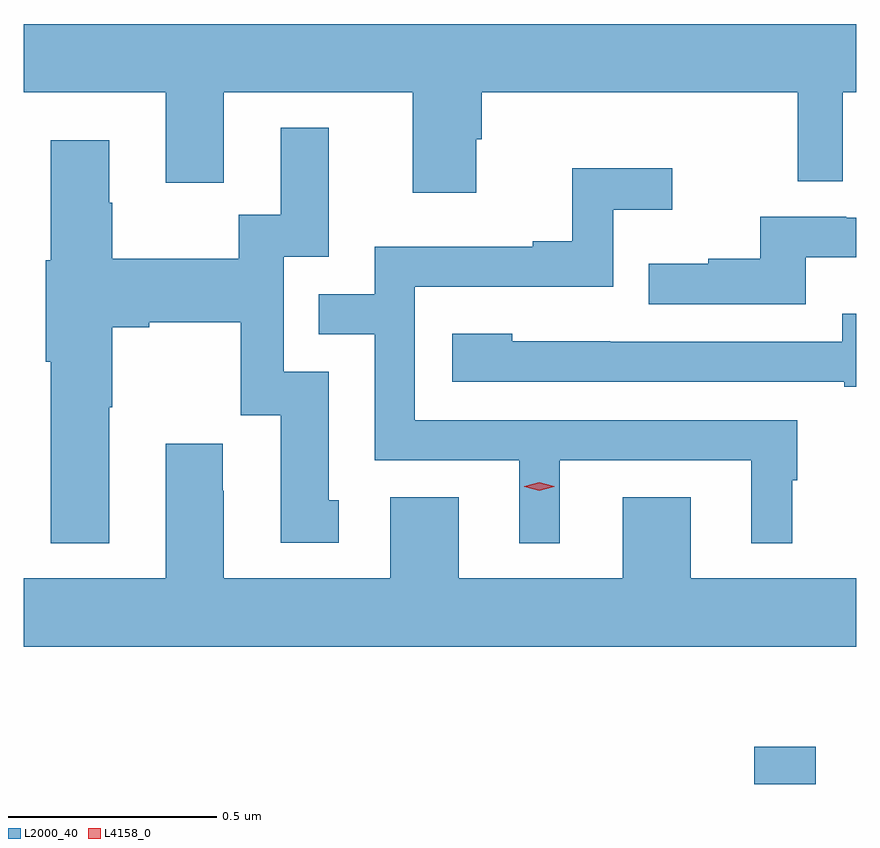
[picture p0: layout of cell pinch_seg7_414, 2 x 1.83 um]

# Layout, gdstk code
import gdstk
lib = gdstk.Library(unit=1e-6, precision=1e-09)
def R(c, l, rs):  # rectangles x0, y0, x1, y1
    for r in rs: c.add(gdstk.rectangle(r[:2], r[2:], *l))
def P(c, l, *ps):  # polygons
    for p in ps: c.add(gdstk.Polygon(p, *l))
L2000_40 = (2000, 40)
L4158_0 = (4158, 0)

pinch_seg7_414 = lib.new_cell('pinch_seg7_414')
R(pinch_seg7_414, L2000_40, [(575.823,1017.602,575.971,1017.691)])
P(pinch_seg7_414, L2000_40, [(575.155,1019.151),(575.168,1019.151),(575.168,1019.264),(575.928,1019.264),(575.928,1019.05),(576.036,1019.05),(576.036,1019.264),(576.068,1019.264),(576.068,1019.428),(574.068,1019.428),(574.068,1019.264),(574.409,1019.264),(574.409,1019.046),(574.549,1019.046),(574.549,1019.264),(575.003,1019.264),(575.003,1019.022),(575.155,1019.022)],
  [(574.273,1018.507),(574.281,1018.507),(574.281,1018.7),(574.369,1018.7),(574.369,1018.712),(574.589,1018.712),(574.589,1018.488),(574.685,1018.488),(574.685,1018.182),(574.825,1018.182),(574.825,1018.284),(574.801,1018.284),(574.801,1018.593),(574.692,1018.593),(574.692,1018.869),(574.801,1018.869),(574.801,1019.179),(574.685,1019.179),(574.685,1018.97),(574.584,1018.97),(574.584,1018.864),(574.281,1018.864),(574.281,1018.998),(574.273,1018.998),(574.273,1019.149),(574.133,1019.149),(574.133,1018.86),(574.121,1018.86),(574.121,1018.616),(574.133,1018.616),(574.133,1018.181),(574.273,1018.181)],
  [(575.356,1018.38),(575.816,1018.38),(575.816,1018.181),(575.914,1018.181),(575.914,1018.332),(575.926,1018.332),(575.926,1018.476),(575.007,1018.476),(575.007,1018.797),(575.484,1018.797),(575.484,1018.982),(575.626,1018.982),(575.626,1019.081),(575.386,1019.081),(575.386,1018.906),(575.291,1018.906),(575.291,1018.893),(574.911,1018.893),(574.911,1018.779),(574.777,1018.779),(574.777,1018.683),(574.911,1018.683),(574.911,1018.38),(575.258,1018.38),(575.258,1018.181),(575.356,1018.181)],
  [(575.947,1018.868),(576.068,1018.868),(576.068,1018.962),(576.044,1018.962),(576.044,1018.965),(575.837,1018.965),(575.837,1018.864),(575.713,1018.864),(575.713,1018.852),(575.569,1018.852),(575.569,1018.755),(575.947,1018.755)],
  [(576.068,1018.732),(576.035,1018.732),(576.035,1018.665),(575.477,1018.665),(575.477,1018.666),(575.241,1018.666),(575.241,1018.684),(575.097,1018.684),(575.097,1018.569),(576.039,1018.569),(576.039,1018.557),(576.068,1018.557)],
  [(576.068,1018.096),(575.671,1018.096),(575.671,1018.291),(575.507,1018.291),(575.507,1018.096),(575.113,1018.096),(575.113,1018.291),(574.949,1018.291),(574.949,1018.096),(574.549,1018.096),(574.549,1018.307),(574.546,1018.307),(574.546,1018.42),(574.409,1018.42),(574.409,1018.096),(574.068,1018.096),(574.068,1017.932),(576.068,1017.932)])
P(pinch_seg7_414, L4158_0, [(575.307,1018.307),(575.271,1018.316),(575.271,1018.317),(575.271,1018.317),(575.307,1018.327),(575.342,1018.317),(575.342,1018.317),(575.342,1018.316)])

lib.write_gds('pinch_seg7_414.gds')
